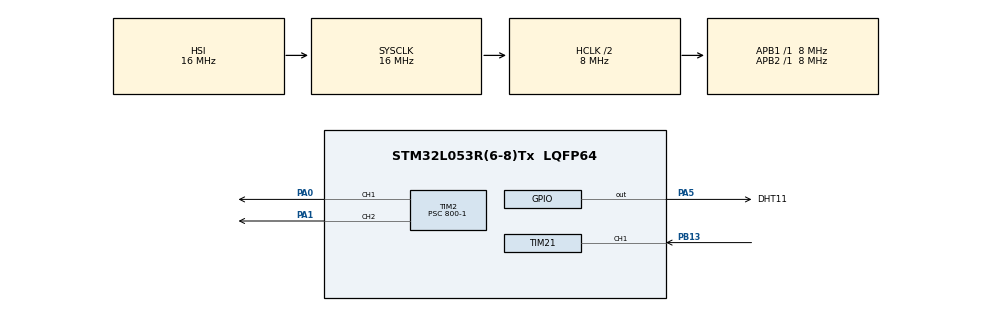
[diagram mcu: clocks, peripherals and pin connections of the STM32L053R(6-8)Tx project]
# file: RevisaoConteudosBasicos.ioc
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Mcu.Family=STM32L0
Mcu.Name=STM32L053R(6-8)Tx
Mcu.Package=LQFP64
NVIC.TIM21_IRQn=true\:0\:0\:false\:false\:true\:true\:true\:true
PA0.Signal=S_TIM2_CH1
PA1.Signal=S_TIM2_CH2
PA5.GPIO_Label=DHT11
PA5.Signal=GPIO_Output
PB13.Signal=S_TIM21_CH1
ProjectManager.HeapSize=0x200
ProjectManager.StackSize=0x400
ProjectManager.TargetToolchain=STM32CubeIDE
RCC.AHBCLKDivider=RCC_SYSCLK_DIV2
RCC.AHBFreq_Value=8000000
RCC.APB1Freq_Value=8000000
RCC.APB1TimFreq_Value=8000000
RCC.APB2Freq_Value=8000000
RCC.APB2TimFreq_Value=8000000
RCC.HCLKFreq_Value=8000000
RCC.HSE_VALUE=8000000
RCC.HSI16_VALUE=16000000
RCC.HSI48_VALUE=48000000
RCC.HSI_VALUE=16000000
RCC.MSI_VALUE=2097000
RCC.SYSCLKFreq_VALUE=16000000
RCC.SYSCLKSource=RCC_SYSCLKSOURCE_HSI
RCC.VCOOutputFreq_Value=48000000
SH.S_TIM21_CH1.0=TIM21_CH1,Input_Capture1_from_TI1
SH.S_TIM2_CH1.0=TIM2_CH1,Output Compare1 CH1
SH.S_TIM2_CH2.0=TIM2_CH2,Output Compare2 CH2
TIM2.Channel-Output\ Compare1\ CH1=TIM_CHANNEL_1
TIM2.Channel-Output\ Compare2\ CH2=TIM_CHANNEL_2
TIM2.OCMode_1=TIM_OCMODE_TOGGLE
TIM2.OCMode_2=TIM_OCMODE_TOGGLE
TIM2.Period=1000-1
TIM2.Prescaler=800-1
TIM2.Pulse-Output\ Compare2\ CH2=0
TIM21.Channel-Input_Capture1_from_TI1=TIM_CHANNEL_1
TIM21.ICPolarity_CH1=TIM_INPUTCHANNELPOLARITY_BOTHEDGE
TIM21.Prescaler=8-1
TIM6.Prescaler=8-1
VP_TIM21_VS_ClockSourceINT.Mode=Internal
VP_TIM2_VS_ClockSourceINT.Mode=Internal
VP_TIM6_VS_ClockSourceINT.Mode=Enable_Timer
board=NUCLEO-L053R8

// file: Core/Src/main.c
/* USER CODE BEGIN Header */
/**
  ******************************************************************************
  * @file           : main.c
  * @brief          : Main program body
  ******************************************************************************
  * @attention
  *
  * Copyright (c) 2025 STMicroelectronics.
  * All rights reserved.
  *
  * This software is licensed under terms that can be found in the LICENSE file
  * in the root directory of this software component.
  * If no LICENSE file comes with this software, it is provided AS-IS.
  *
  ******************************************************************************
  */
/* USER CODE END Header */
#include "main.h"

/* USER CODE BEGIN PTD */
typedef struct{
	GPIO_TypeDef* port;
	uint16_t pinout;
	TIM_HandleTypeDef *htim;
	uint8_t temperature;
	uint8_t humidty;
}DHT11;

/* USER CODE END PTD */

/* USER CODE BEGIN PD */
#define CLK_VALUE 2000000
#define OUTPUT 1
#define INPUT 0
/* USER CODE END PD */

TIM_HandleTypeDef htim2;
TIM_HandleTypeDef htim6;
TIM_HandleTypeDef htim21;

/* USER CODE BEGIN PV */
uint32_t data, count;
int32_t read[2], band_width;
uint8_t able = 0;
float freq = 0, time_band, other_time;
DHT11 DHT;

/* USER CODE END PV */

void SystemClock_Config(void);
static void MX_GPIO_Init(void);
static void MX_TIM2_Init(void);
static void MX_TIM21_Init(void);
static void MX_TIM6_Init(void);
/* USER CODE BEGIN PFP */
void HAL_TIM_IC_CaptureCallback(TIM_HandleTypeDef *htim){
	if(&htim21 == htim){
		switch(able){
			case 0: read[0] = HAL_TIM_ReadCapturedValue(htim, TIM_CHANNEL_1); able = 1; break;
			case 1: read[1] = HAL_TIM_ReadCapturedValue(htim, TIM_CHANNEL_1); able = 2; break;
			case 2:
				if(read[1] >= read[0]) band_width = read[1] - read[0];
				else band_width = (__HAL_TIM_GET_AUTORELOAD(htim) - read[0]) + read[1] + 1;

				time_band = ((band_width / 1000.0) / 2);
				freq = (float)((CLK_VALUE / band_width));
				able = 0;
				break;
		}
	}
}

uint8_t READ_DHT11(DHT11 *dht);
void SET_MODE_DHT11(DHT11 *dht, uint8_t pin_mode);
void STARTUP_DHT11(DHT11 *dht, TIM_HandleTypeDef *htim, GPIO_TypeDef* port, uint16_t pinout);
/* USER CODE END PFP */

int main(void)
{

  /* MCU Configuration--------------------------------------------------------*/

  /* Reset of all peripherals, Initializes the Flash interface and the Systick. */
  HAL_Init();

  /* Configure the system clock */
  SystemClock_Config();

  /* Initialize all configured peripherals */
  MX_GPIO_Init();
  MX_TIM2_Init();
  MX_TIM21_Init();
  MX_TIM6_Init();
  /* USER CODE BEGIN 2 */
  HAL_TIM_IC_Start_IT(&htim21, TIM_CHANNEL_1);
  HAL_TIM_OC_Start(&htim2, TIM_CHANNEL_1);
  HAL_TIM_OC_Start(&htim2, TIM_CHANNEL_2);

  STARTUP_DHT11(&DHT, &htim6, DHT11_GPIO_Port, DHT11_Pin);

  /* USER CODE END 2 */

  /* Infinite loop */
  /* USER CODE BEGIN WHILE */
  while (1) {
	  // OUTPUT COMPARE
	  __HAL_TIM_SET_COMPARE(&htim2, TIM_CHANNEL_1, count);
	  count++;
	  HAL_Delay(10);
	  if(count >= 600) count = 0;

	  // LEITURA DHT11
	  READ_DHT11(&DHT);
    /* USER CODE END WHILE */

  }
}

void SystemClock_Config(void)
{
  RCC_OscInitTypeDef RCC_OscInitStruct = {0};
  RCC_ClkInitTypeDef RCC_ClkInitStruct = {0};

  /** Configure the main internal regulator output voltage
  */
  __HAL_PWR_VOLTAGESCALING_CONFIG(PWR_REGULATOR_VOLTAGE_SCALE1);

  /** Initializes the RCC Oscillators according to the specified parameters
  * in the RCC_OscInitTypeDef structure.
  */
  RCC_OscInitStruct.OscillatorType = RCC_OSCILLATORTYPE_HSI;
  RCC_OscInitStruct.HSIState = RCC_HSI_ON;
  RCC_OscInitStruct.HSICalibrationValue = RCC_HSICALIBRATION_DEFAULT;
  RCC_OscInitStruct.PLL.PLLState = RCC_PLL_NONE;
  if (HAL_RCC_OscConfig(&RCC_OscInitStruct) != HAL_OK)
  {
    Error_Handler();
  }

  /** Initializes the CPU, AHB and APB buses clocks
  */
  RCC_ClkInitStruct.ClockType = RCC_CLOCKTYPE_HCLK|RCC_CLOCKTYPE_SYSCLK
                              |RCC_CLOCKTYPE_PCLK1|RCC_CLOCKTYPE_PCLK2;
  RCC_ClkInitStruct.SYSCLKSource = RCC_SYSCLKSOURCE_HSI;
  RCC_ClkInitStruct.AHBCLKDivider = RCC_SYSCLK_DIV2;
  RCC_ClkInitStruct.APB1CLKDivider = RCC_HCLK_DIV1;
  RCC_ClkInitStruct.APB2CLKDivider = RCC_HCLK_DIV1;

  if (HAL_RCC_ClockConfig(&RCC_ClkInitStruct, FLASH_LATENCY_0) != HAL_OK)
  {
    Error_Handler();
  }
  HAL_RCC_MCOConfig(RCC_MCO1, RCC_MCO1SOURCE_SYSCLK, RCC_MCODIV_1);
}

static void MX_TIM2_Init(void)
{

  TIM_ClockConfigTypeDef sClockSourceConfig = {0};
  TIM_MasterConfigTypeDef sMasterConfig = {0};
  TIM_OC_InitTypeDef sConfigOC = {0};

  htim2.Instance = TIM2;
  htim2.Init.Prescaler = 800-1;
  htim2.Init.CounterMode = TIM_COUNTERMODE_UP;
  htim2.Init.Period = 1000-1;
  htim2.Init.ClockDivision = TIM_CLOCKDIVISION_DIV1;
  htim2.Init.AutoReloadPreload = TIM_AUTORELOAD_PRELOAD_DISABLE;
  if (HAL_TIM_Base_Init(&htim2) != HAL_OK)
  {
    Error_Handler();
  }
  sClockSourceConfig.ClockSource = TIM_CLOCKSOURCE_INTERNAL;
  if (HAL_TIM_ConfigClockSource(&htim2, &sClockSourceConfig) != HAL_OK)
  {
    Error_Handler();
  }
  if (HAL_TIM_OC_Init(&htim2) != HAL_OK)
  {
    Error_Handler();
  }
  sMasterConfig.MasterOutputTrigger = TIM_TRGO_RESET;
  sMasterConfig.MasterSlaveMode = TIM_MASTERSLAVEMODE_DISABLE;
  if (HAL_TIMEx_MasterConfigSynchronization(&htim2, &sMasterConfig) != HAL_OK)
  {
    Error_Handler();
  }
  sConfigOC.OCMode = TIM_OCMODE_TOGGLE;
  sConfigOC.Pulse = 0;
  sConfigOC.OCPolarity = TIM_OCPOLARITY_HIGH;
  sConfigOC.OCFastMode = TIM_OCFAST_DISABLE;
  if (HAL_TIM_OC_ConfigChannel(&htim2, &sConfigOC, TIM_CHANNEL_1) != HAL_OK)
  {
    Error_Handler();
  }
  if (HAL_TIM_OC_ConfigChannel(&htim2, &sConfigOC, TIM_CHANNEL_2) != HAL_OK)
  {
    Error_Handler();
  }
  HAL_TIM_MspPostInit(&htim2);

}

static void MX_TIM6_Init(void)
{

  TIM_MasterConfigTypeDef sMasterConfig = {0};

  htim6.Instance = TIM6;
  htim6.Init.Prescaler = 8-1;
  htim6.Init.CounterMode = TIM_COUNTERMODE_UP;
  htim6.Init.Period = 65535;
  htim6.Init.AutoReloadPreload = TIM_AUTORELOAD_PRELOAD_DISABLE;
  if (HAL_TIM_Base_Init(&htim6) != HAL_OK)
  {
    Error_Handler();
  }
  sMasterConfig.MasterOutputTrigger = TIM_TRGO_RESET;
  sMasterConfig.MasterSlaveMode = TIM_MASTERSLAVEMODE_DISABLE;
  if (HAL_TIMEx_MasterConfigSynchronization(&htim6, &sMasterConfig) != HAL_OK)
  {
    Error_Handler();
  }

}

static void MX_TIM21_Init(void)
{

  TIM_ClockConfigTypeDef sClockSourceConfig = {0};
  TIM_MasterConfigTypeDef sMasterConfig = {0};
  TIM_IC_InitTypeDef sConfigIC = {0};

  htim21.Instance = TIM21;
  htim21.Init.Prescaler = 8-1;
  htim21.Init.CounterMode = TIM_COUNTERMODE_UP;
  htim21.Init.Period = 65535;
  htim21.Init.ClockDivision = TIM_CLOCKDIVISION_DIV1;
  htim21.Init.AutoReloadPreload = TIM_AUTORELOAD_PRELOAD_DISABLE;
  if (HAL_TIM_Base_Init(&htim21) != HAL_OK)
  {
    Error_Handler();
  }
  sClockSourceConfig.ClockSource = TIM_CLOCKSOURCE_INTERNAL;
  if (HAL_TIM_ConfigClockSource(&htim21, &sClockSourceConfig) != HAL_OK)
  {
    Error_Handler();
  }
  if (HAL_TIM_IC_Init(&htim21) != HAL_OK)
  {
    Error_Handler();
  }
  sMasterConfig.MasterOutputTrigger = TIM_TRGO_RESET;
  sMasterConfig.MasterSlaveMode = TIM_MASTERSLAVEMODE_DISABLE;
  if (HAL_TIMEx_MasterConfigSynchronization(&htim21, &sMasterConfig) != HAL_OK)
  {
    Error_Handler();
  }
  sConfigIC.ICPolarity = TIM_INPUTCHANNELPOLARITY_BOTHEDGE;
  sConfigIC.ICSelection = TIM_ICSELECTION_DIRECTTI;
  sConfigIC.ICPrescaler = TIM_ICPSC_DIV1;
  sConfigIC.ICFilter = 0;
  if (HAL_TIM_IC_ConfigChannel(&htim21, &sConfigIC, TIM_CHANNEL_1) != HAL_OK)
  {
    Error_Handler();
  }

}

static void MX_GPIO_Init(void)
{
  GPIO_InitTypeDef GPIO_InitStruct = {0};

  /* GPIO Ports Clock Enable */
  __HAL_RCC_GPIOA_CLK_ENABLE();
  __HAL_RCC_GPIOB_CLK_ENABLE();

  /*Configure GPIO pin Output Level */
  HAL_GPIO_WritePin(DHT11_GPIO_Port, DHT11_Pin, GPIO_PIN_RESET);

  /*Configure GPIO pin : DHT11_Pin */
  GPIO_InitStruct.Pin = DHT11_Pin;
  GPIO_InitStruct.Mode = GPIO_MODE_OUTPUT_PP;
  GPIO_InitStruct.Pull = GPIO_NOPULL;
  GPIO_InitStruct.Speed = GPIO_SPEED_FREQ_LOW;
  HAL_GPIO_Init(DHT11_GPIO_Port, &GPIO_InitStruct);

}

/* USER CODE BEGIN 4 */
void STARTUP_DHT11(DHT11 *dht, TIM_HandleTypeDef *htim, GPIO_TypeDef* port, uint16_t pinout){
	dht->htim = htim;
	dht->port = port;
	dht->pinout = pinout;
}
void SET_MODE_DHT11(DHT11 *dht, uint8_t pin_mode){
	GPIO_InitTypeDef GPIO_InitStruct = {0};

	if(pin_mode == OUTPUT){
	  GPIO_InitStruct.Pin = dht->pinout;
	  GPIO_InitStruct.Mode = GPIO_MODE_OUTPUT_PP;
	  GPIO_InitStruct.Pull = GPIO_NOPULL;
	  GPIO_InitStruct.Speed = GPIO_SPEED_FREQ_VERY_HIGH;
	  HAL_GPIO_Init(dht->port, &GPIO_InitStruct);
	}

	else if(pin_mode == INPUT){
	  GPIO_InitStruct.Pin = dht->pinout;
	  GPIO_InitStruct.Mode = GPIO_MODE_INPUT;
	  GPIO_InitStruct.Pull = GPIO_NOPULL;
	  GPIO_InitStruct.Speed = GPIO_SPEED_FREQ_VERY_HIGH;
	  HAL_GPIO_Init(dht->port, &GPIO_InitStruct);
	}
}
uint8_t READ_DHT11(DHT11 *dht){
	uint16_t mTime1 = 0, mTime2 = 0, mBit = 0;
	uint8_t humVal = 0, tempVal = 0, parityVal = 0, genParity = 0;
	uint8_t mData[40];

	SET_MODE_DHT11(dht, OUTPUT);
	HAL_GPIO_WritePin(dht->port, dht->pinout, GPIO_PIN_RESET);
	HAL_Delay(18);

	__disable_irq(); // Desabilita todas as interrupções para apenas ler o DHT
	HAL_TIM_Base_Start(dht->htim);
	SET_MODE_DHT11(dht, INPUT);

	__HAL_TIM_SET_COUNTER(dht->htim, 0); // Definindo o counter para zero

	while(HAL_GPIO_ReadPin(dht->port, dht->pinout) == GPIO_PIN_SET){
		if((uint16_t)__HAL_TIM_GET_COUNTER(dht->htim) > 500){
			__enable_irq(); // Abilita novamente as interrupções
			break;
		}
	}

	__HAL_TIM_SET_COUNTER(dht->htim, 0);

	while(HAL_GPIO_ReadPin(dht->port, dht->pinout) == GPIO_PIN_RESET){
		if((uint16_t)__HAL_TIM_GET_COUNTER(dht->htim) > 500){
			__enable_irq(); // Abilita novamente as interrupções
			break;
		}
	}

	mTime1 = (uint16_t)__HAL_TIM_GET_COUNTER(dht->htim);
	__HAL_TIM_SET_COUNTER(dht->htim, 0);

	while(HAL_GPIO_ReadPin(dht->port, dht->pinout) == GPIO_PIN_SET){
		if((uint16_t)__HAL_TIM_GET_COUNTER(dht->htim) > 500){
			__enable_irq(); // Abilita novamente as interrupções
			break;
		}
	}

	mTime2 = (uint16_t) __HAL_TIM_GET_COUNTER(dht->htim);

	if((mTime1 < 75 || mTime1 > 85) || (mTime2 < 75 || mTime2 > 85)) {
		__enable_irq();
		return 0;
	}

	for(int j = 0; j < 40; ++j){
		__HAL_TIM_SET_COUNTER(dht->htim, 0);

		while(HAL_GPIO_ReadPin(dht->port, dht->pinout) == GPIO_PIN_RESET){
			if((uint16_t)__HAL_TIM_GET_COUNTER(dht->htim) > 500){
				__enable_irq(); // Abilita novamente as interrupções
				break;
			}
		}

		while(HAL_GPIO_ReadPin(dht->port, dht->pinout) == GPIO_PIN_SET){
			if((uint16_t)__HAL_TIM_GET_COUNTER(dht->htim) > 500){
				__enable_irq(); // Abilita novamente as interrupções
				break;
			}
		}

		mTime1 = (uint16_t)__HAL_TIM_GET_COUNTER(dht->htim);

		if(mTime1 > 20 && mTime1 < 30) mBit = 0;
		else if (mTime1 > 60 && mTime1 < 80) mBit = 1;

		mData[j] = mBit;

	}

	HAL_TIM_Base_Stop(dht->htim);
	__enable_irq();

	for(int i = 0; i < 8; ++i) humVal = (humVal << 1) | mData[i];

	for(int i = 16; i < 24; ++i){
		tempVal += mData[i];
		tempVal = tempVal << 1;
	}

	for(int i = 32; i < 40; ++i){
		parityVal += mData[i];
		parityVal = parityVal << 1;
	}

	parityVal = parityVal >> 1;
	humVal = humVal >> 1;
	tempVal = tempVal >> 1;

	genParity = humVal + tempVal;

	dht->temperature = tempVal;
	dht->humidty = humVal;

	return 1;
}
/* USER CODE END 4 */

void Error_Handler(void)
{
  __disable_irq();
  while (1)
  {
  }
}
